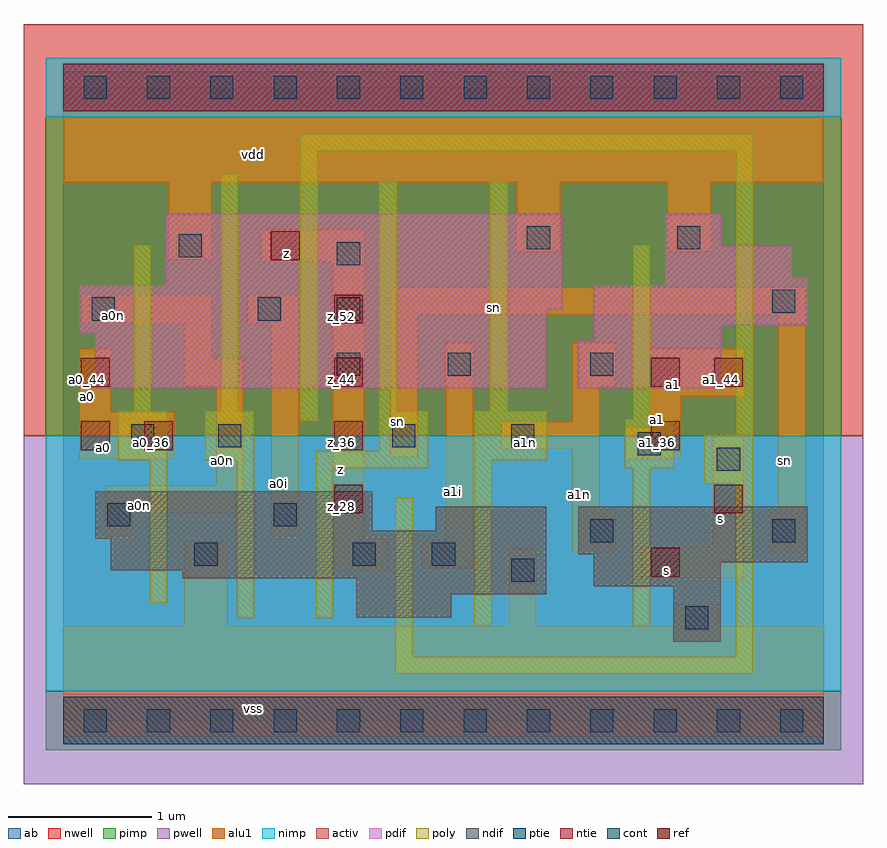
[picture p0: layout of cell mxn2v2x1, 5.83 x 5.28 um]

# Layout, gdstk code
import gdstk
lib = gdstk.Library(unit=1e-6, precision=2.5e-09)
def R(c, l, rs):  # rectangles x0, y0, x1, y1
    for r in rs: c.add(gdstk.rectangle(r[:2], r[2:], *l))
def A(c, l, x, y, w, h, nx, ny, dx, dy):  # array of equal rectangles
    R(c, l, [(x+i*dx, y+j*dy, x+i*dx+w, y+j*dy+h) for i in range(nx) for j in range(ny)])
ndif = (3, 0)
pdif = (4, 0)
ntie = (5, 0)
ptie = (6, 0)
ref = (24, 0)
cont = (25, 0)
pwell = (41, 0)
nwell = (42, 0)
activ = (43, 0)
pimp = (44, 0)
nimp = (45, 0)
poly = (46, 0)
alu1 = (49, 0)
ab = (63, 0)

mxn2v2x1 = lib.new_cell('mxn2v2x1')
R(mxn2v2x1, ndif, [(4.235,0.55,4.565,0.935), (2.035,0.715,2.695,0.88), (2.035,0.88,3.355,0.99), (3.685,0.935,4.565,1.1), (0.825,0.99,3.355,1.045), (0.33,1.045,3.355,1.265), (3.685,1.1,5.17,1.155), (3.575,1.155,5.17,1.485), (0.22,1.265,3.355,1.32), (0.22,1.32,2.145,1.595), (2.585,1.32,3.355,1.485)])
R(mxn2v2x1, pdif, [(0.22,2.31,3.355,2.695), (3.575,2.31,4.565,2.64), (3.685,2.64,4.565,2.75), (0.11,2.695,3.355,2.86), (3.685,2.75,5.17,3.025), (0.11,2.86,3.465,3.025), (0.715,3.025,3.465,3.52), (4.18,3.025,5.17,3.08), (4.18,3.08,5.06,3.3), (4.18,3.3,4.565,3.52)])
R(mxn2v2x1, ntie, [(0,4.235,5.28,4.565)])
R(mxn2v2x1, ptie, [(0,-0.165,5.28,0.165)])
A(mxn2v2x1, ref, 1.88, 1.44, 0.2, 0.2, 1, 4, 0, 0.44)
R(mxn2v2x1, ref, [(4.08,1,4.28,1.2), (4.52,1.44,4.72,1.64), (0.12,1.88,0.32,2.08), (0.56,1.88,0.76,2.08), (4.08,1.88,4.28,2.08), (0.12,2.32,0.32,2.52), (4.08,2.32,4.28,2.52), (4.52,2.32,4.72,2.52), (1.44,3.2,1.64,3.4)])
A(mxn2v2x1, cont, 0.14, -0.08, 0.16, 0.16, 12, 2, 0.44, 4.4)
A(mxn2v2x1, cont, 1.9, 2.395, 0.16, 0.16, 1, 3, 0, 0.385)
R(mxn2v2x1, cont, [(4.32,0.635,4.48,0.795), (3.11,0.965,3.27,1.125), (0.91,1.075,1.07,1.235), (2.01,1.075,2.17,1.235), (2.56,1.075,2.72,1.235), (3.66,1.24,3.82,1.4), (4.925,1.24,5.085,1.4), (0.305,1.35,0.465,1.51), (1.46,1.35,1.62,1.51), (4.54,1.735,4.7,1.895), (3.99,1.845,4.15,2.005), (0.47,1.9,0.63,2.06), (1.075,1.9,1.235,2.06), (2.285,1.9,2.445,2.06), (3.11,1.9,3.27,2.06), (2.67,2.395,2.83,2.555), (3.66,2.395,3.82,2.555), (0.195,2.78,0.355,2.94), (1.35,2.78,1.51,2.94), (4.925,2.835,5.085,2.995), (0.8,3.22,0.96,3.38), (3.22,3.275,3.38,3.435), (4.265,3.275,4.425,3.435)])
R(mxn2v2x1, pwell, [(-0.275,-0.44,5.555,1.98)])
R(mxn2v2x1, nwell, [(-0.275,1.98,5.555,4.84)])
R(mxn2v2x1, activ, [(0,-0.165,5.28,0.165), (4.235,0.55,4.565,0.935), (2.035,0.715,2.695,0.88), (2.035,0.88,3.355,0.99), (3.685,0.935,4.565,1.1), (0.825,0.99,3.355,1.045), (0.33,1.045,3.355,1.265), (3.685,1.1,5.17,1.155), (3.575,1.155,5.17,1.485), (0.22,1.265,3.355,1.32), (0.22,1.32,2.145,1.595), (2.585,1.32,3.355,1.485), (0.22,2.31,3.355,2.695), (3.575,2.31,4.565,2.64), (3.685,2.64,4.565,2.75), (0.11,2.695,3.355,2.86), (3.685,2.75,5.17,3.025), (0.11,2.86,3.465,3.025), (0.715,3.025,3.465,3.52), (4.18,3.025,5.17,3.08), (4.18,3.08,5.06,3.3), (4.18,3.3,4.565,3.52), (0,4.235,5.28,4.565)])
R(mxn2v2x1, pimp, [(-0.125,-0.205,5.405,0.205), (-0.125,1.98,5.405,4.195)])
R(mxn2v2x1, nimp, [(-0.125,0.205,5.405,1.98), (-0.125,4.195,5.405,4.605)])
R(mxn2v2x1, poly, [(2.305,0.325,4.79,0.445), (2.305,0.445,2.425,1.545), (4.67,0.445,4.79,1.645), (2.855,0.655,2.975,1.81), (3.955,0.655,4.075,1.755), (1.205,0.71,1.325,1.81), (1.755,0.71,1.875,1.755), (0.6,0.82,0.72,1.81), (4.45,1.645,4.79,1.985), (1.755,1.755,2.535,1.875), (3.9,1.755,4.24,2.095), (0.38,1.81,0.72,2.15), (0.985,1.81,1.325,2.15), (2.855,1.81,3.36,2.15), (2.195,1.875,2.535,2.15), (4.67,1.985,4.79,3.955), (1.645,2.085,1.765,3.955), (3.955,2.095,4.075,3.305), (0.49,2.15,0.61,3.305), (1.095,2.15,1.215,3.8), (2.195,2.15,2.315,3.745), (2.965,2.15,3.085,3.745), (1.645,3.955,4.79,4.075)])
R(mxn2v2x1, alu1, [(0,-0.11,5.28,0.66), (0.84,0.66,1.14,1.25), (3.095,0.66,3.285,1.195), (4.25,0.66,4.55,0.81), (4.015,0.99,4.73,1.21), (1.87,1.045,2.255,1.265), (2.49,1.06,2.845,1.25), (3.535,1.17,3.835,1.47), (4.91,1.17,5.155,1.47), (4.51,1.21,4.73,1.98), (2.655,1.25,2.845,2.625), (1.87,1.265,2.09,3.19), (0.29,1.28,0.48,1.445), (1.445,1.28,1.635,2.765), (0.29,1.445,1.25,1.635), (3.535,1.47,3.725,1.885), (4.965,1.47,5.155,2.82), (1.06,1.635,1.25,2.325), (0.11,1.815,0.77,2.145), (3.905,1.815,4.29,2.035), (2.27,1.83,2.46,2.82), (3.04,1.885,3.725,2.075), (4.07,2.035,4.29,2.255), (3.535,2.075,3.725,2.325), (0.11,2.145,0.33,2.585), (4.07,2.255,4.73,2.585), (0.84,2.325,1.25,2.515), (3.535,2.325,3.835,2.625), (0.84,2.515,1.03,2.765), (0.125,2.765,1.03,2.955), (1.28,2.765,1.635,2.955), (2.27,2.82,5.155,3.01), (1.375,3.19,2.09,3.41), (0.73,3.205,1.03,3.74), (3.15,3.26,3.45,3.74), (4.195,3.26,4.495,3.74), (0,3.74,5.28,4.51)])
R(mxn2v2x1, ab, [(0,0,5.28,4.4)])
mxn2v2x1.add(gdstk.Label('vss', (1.32,0.0825), layer=49, texttype=0))
mxn2v2x1.add(gdstk.Label('s', (4.1925,1.045), layer=49, texttype=0))
mxn2v2x1.add(gdstk.Label('sn', (5.0125,1.8075), layer=49, texttype=0))
mxn2v2x1.add(gdstk.Label('s', (4.565,1.4025), layer=49, texttype=0))
mxn2v2x1.add(gdstk.Label('a1n', (3.5825,1.5725), layer=49, texttype=0))
mxn2v2x1.add(gdstk.Label('a1', (4.125,2.09), layer=49, texttype=0))
mxn2v2x1.add(gdstk.Label('a1', (4.235,2.3375), layer=49, texttype=0))
mxn2v2x1.add(gdstk.Label('a1n', (3.21,1.9325), layer=49, texttype=0))
mxn2v2x1.add(gdstk.Label('a1i', (2.7025,1.5925), layer=49, texttype=0))
mxn2v2x1.add(gdstk.Label('sn', (2.3175,2.0775), layer=49, texttype=0))
mxn2v2x1.add(gdstk.Label('sn', (2.99,2.8675), layer=49, texttype=0))
mxn2v2x1.add(gdstk.Label('z', (1.925,1.745), layer=49, texttype=0))
mxn2v2x1.add(gdstk.Label('a0i', (1.4925,1.65), layer=49, texttype=0))
mxn2v2x1.add(gdstk.Label('a0n', (0.53,1.4925), layer=49, texttype=0))
mxn2v2x1.add(gdstk.Label('a0n', (1.1075,1.8075), layer=49, texttype=0))
mxn2v2x1.add(gdstk.Label('a0', (0.275,1.8975), layer=49, texttype=0))
mxn2v2x1.add(gdstk.Label('a0', (0.165,2.255), layer=49, texttype=0))
mxn2v2x1.add(gdstk.Label('a0n', (0.35,2.8125), layer=49, texttype=0))
mxn2v2x1.add(gdstk.Label('z', (1.5525,3.245), layer=49, texttype=0))
mxn2v2x1.add(gdstk.Label('vdd', (1.32,3.9325), layer=49, texttype=0))
mxn2v2x1.add(gdstk.Label('z_60', (1.49,3.25), layer=24, texttype=0))
mxn2v2x1.add(gdstk.Label('a0_44', (0.17,2.37), layer=24, texttype=0))
mxn2v2x1.add(gdstk.Label('a0_36', (0.17,1.93), layer=24, texttype=0))
mxn2v2x1.add(gdstk.Label('a0_36', (0.61,1.93), layer=24, texttype=0))
mxn2v2x1.add(gdstk.Label('z_36', (1.93,1.93), layer=24, texttype=0))
mxn2v2x1.add(gdstk.Label('z_28', (1.93,1.49), layer=24, texttype=0))
mxn2v2x1.add(gdstk.Label('z_44', (1.93,2.37), layer=24, texttype=0))
mxn2v2x1.add(gdstk.Label('z_52', (1.93,2.81), layer=24, texttype=0))
mxn2v2x1.add(gdstk.Label('s_20', (4.13,1.05), layer=24, texttype=0))
mxn2v2x1.add(gdstk.Label('s_28', (4.57,1.49), layer=24, texttype=0))
mxn2v2x1.add(gdstk.Label('a1_36', (4.13,1.93), layer=24, texttype=0))
mxn2v2x1.add(gdstk.Label('a1_44', (4.13,2.37), layer=24, texttype=0))
mxn2v2x1.add(gdstk.Label('a1_44', (4.57,2.37), layer=24, texttype=0))

lib.write_gds('mxn2v2x1.gds')
